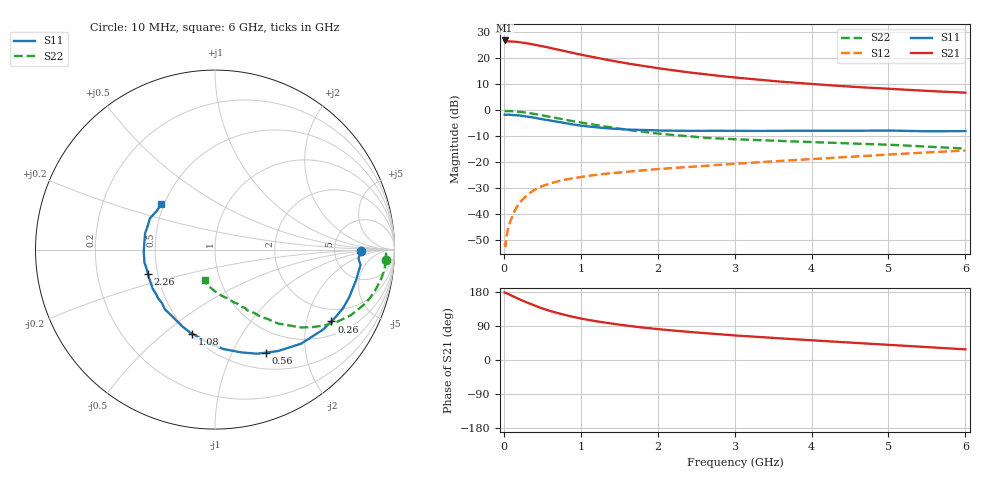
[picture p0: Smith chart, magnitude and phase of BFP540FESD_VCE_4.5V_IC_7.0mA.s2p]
! Infineon Technologies  Discrete & RF Semiconductors
! BFP540FESD
! VCE =  4.5 V,  IC =  7.0 mA
! Common Emitter S-Parameters:  Nov 2015
# GHz  S  MA  R  50
!  f  S11  S21  S12  S22
! GHz  MAG  ANG  MAG  ANG  MAG  ANG  MAG  ANG
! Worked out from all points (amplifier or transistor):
!   210 points, 10 MHz to 6 GHz, reference 50 ohm
!   highest |S21| = 26.7 dB at 10 MHz (marker M1)
!   |S21| within 3 dB of that: start of sweep to 622 MHz
!   unconditionally stable (mu >= 1): 17.05 MHz to 20.14 MHz; 2.479 GHz to end of sweep
!   at 185 MHz: K = 0.26, MSG = 31.3 dB, |S12| = -36.5 dB
!   at 1.52 GHz: K = 0.74, MSG = 21.2 dB, |S12| = -24.0 dB
!   at 6 GHz: K = 1.26, MAG = 8.1 dB, |S12| = -15.6 dB
!   S11 on the Smith chart (normalised r, x): 10 MHz: 9.66, -0.32; 260 MHz: 1.48, -2.82; 560 MHz: 0.70, -1.36; 1.08 GHz: 0.51, -0.63; 2.26 GHz: 0.44, -0.14; 6 GHz: 0.48, +0.29
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0.01  0.8126 -0.4  21.74 178.1  0.0027 22.3  0.957 -3.4
0.02  0.801 -3.6  20.97 177.6  0.0024 28.9  0.953 -1.3
0.05  0.8154 -6.0  20.98 174.8  0.0049 55.9  0.9537 -3.5
0.15  0.7937 -19.4  20.59 165.4  0.0121 71.6  0.938 -10.5
0.2  0.7842 -24.7  20.1 160.4  0.0161 69.8  0.9224 -13.9
0.26  0.7621 -31.7  19.57 155.3  0.0201 68.8  0.9017 -17.8
0.3  0.7483 -36.7  19.21 151.6  0.0228 68.1  0.8852 -20.2
0.4  0.7101 -47.6  18.07 143.5  0.0292 64.4  0.8407 -25.8
0.5  0.6656 -58.1  16.93 136.0  0.0344 61.0  0.7887 -30.8
0.56  0.64 -63.8  16.13 132.2  0.0368 58.9  0.7584 -33.2
0.7  0.5907 -75.8  14.54 123.9  0.0424 55.9  0.6941 -38.5
0.8  0.5552 -85.3  13.48 118.4  0.0458 54.0  0.6483 -42.0
1.02  0.4961 -100.9  11.44 108.9  0.0518 50.4  0.567 -47.4
1.08  0.4854 -105.1  10.99 106.5  0.0536 49.7  0.5477 -49.0
1.24  0.4586 -115.3  9.833 101.0  0.0573 48.7  0.5004 -51.9
1.5  0.4345 -130.0  8.36 93.2  0.0626 47.1  0.4376 -56.8
2.02  0.4026 -152.8  6.319 81.2  0.0732 45.6  0.3503 -65.0
2.26  0.398 -159.9  5.64 76.8  0.0776 45.3  0.3248 -67.8
3.1  0.3962 179.7  4.087 63.6  0.0943 44.1  0.2701 -78.5
4.1  0.3988 165.5  3.086 50.9  0.1163 42.3  0.2387 -87.9
5.1  0.3993 152.9  2.506 38.7  0.1416 38.0  0.2115 -97.3
6  0.3927 139.5  2.153 28.1  0.1658 33.0  0.1808 -108.0
